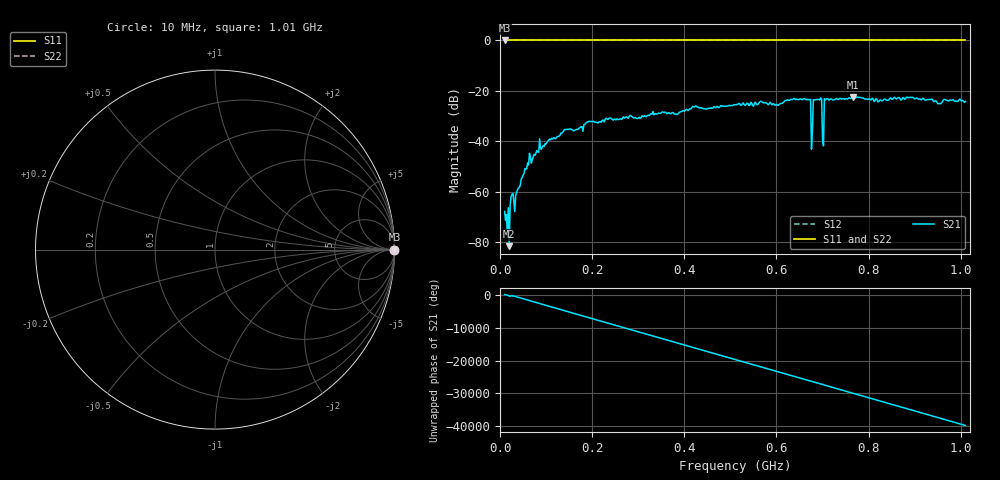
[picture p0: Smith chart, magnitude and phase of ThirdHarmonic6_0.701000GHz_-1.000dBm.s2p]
! 8/15/2025 11:25:49 PM
! C:\ANRITSUVNA\TEMP\TEMP.S2P
! CHANNEL.1
! TR.MEASUREMENT
! RAW.DATA
! RF.CORRECTION.OFF
! AVERAGING.OFF
! IF.BANDWIDTH: 5KHZ
! SWEEPTYPE:  FREQ.SWEEP(Linear)
! Reference Plane Port Info
! PORT:  PORT1  PORT2
! DISTANCE:  0  m  0  m
! TIME:  0  s  0  s
! PHASE.OFFSET:  0  deg.  0  deg.
! LOSS:  0  dB  0  dB
! REF.LOSS:  0  dB  0  dB
! REF.FREQ:  0  Hz  0  Hz
! Power Info
! POWER:  -20  dBm  -20  dBm
! EFF.POWER:  -20  dBm  -20  dBm
! SOURCE.ATTEN:  0  dB  0  dB
! TEST.ATTEN:  0  dB  0  dB
# GHZ S RI R 50.0
! FREQ.GHZ  S11RE  S11IM  S21RE  S21IM  S12RE  S12IM  S22RE  S22IM
!; PortSelection: Port_12
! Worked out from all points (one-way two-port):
!   501 points, 10 MHz to 1.01 GHz, reference 50 ohm
!   highest |S21| = -22.38 dB at 766 MHz (marker M1); lowest = -81.6 dB at 20 MHz (marker M2)
!   lowest |S11| = 0.0 dB at 10 MHz (marker M3)
!   |S11| at or under -10 dB: nowhere
!   |S22| runs from 0.0 to 0.0 dB; largest |S21 - S12| = 1.1
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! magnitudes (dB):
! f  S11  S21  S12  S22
! 10 MHz  0.0  -67.8  0.0  0.0
! 16 MHz  0.0  -77.5  0.0  0.0
! 20 MHz  0.0  -81.6  0.0  0.0
! 26 MHz  0.0  -61.1  0.0  0.0
! 34 MHz  0.0  -61.6  0.0  0.0
! 62 MHz  0.0  -49.4  0.0  0.0
! 82 MHz  0.0  -44.3  0.0  0.0
! 142 MHz  0.0  -35.4  0.0  0.0
! 178 MHz  0.0  -34.2  0.0  0.0
! 344 MHz  0.0  -28.8  0.0  0.0
! 510 MHz  0.0  -25.5  0.0  0.0
! 670 MHz  0.0  -23.4  0.0  0.0
! 674 MHz  0.0  -23.4  0.0  0.0
! 678 MHz  0.0  -36.2  0.0  0.0
! 684 MHz  0.0  -23.5  0.0  0.0
! 694 MHz  0.0  -23.7  0.0  0.0
! 698 MHz  0.0  -23.3  0.0  0.0
! 704 MHz  0.0  -23.1  0.0  0.0
! 708 MHz  0.0  -23.3  0.0  0.0
! 766 MHz  0.0  -22.4  0.0  0.0
! 844 MHz  0.0  -23.5  0.0  0.0
! 1.01 GHz  0.0  -24.2  0.0  0.0
